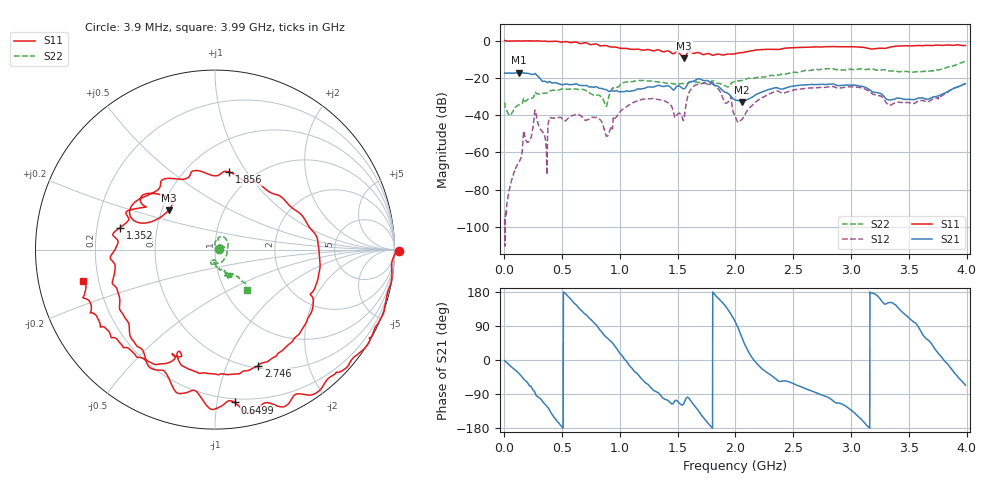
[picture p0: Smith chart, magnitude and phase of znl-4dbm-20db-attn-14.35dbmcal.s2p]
#  HZ  S  RI  R  50.00
! Rohde & Schwarz Vector Network Analyzer
! Rohde-Schwarz,ZNL20-2Port,1323001220101312,1.72.1.6-23.02.1.246
! Created: UTC 10/23/2024, 6:44:50 PM
! freq[Hz]  re:S11  im:S11  re:S21  im:S21  re:S12  im:S12  re:S22  im:S22
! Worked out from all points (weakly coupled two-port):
!   2000 points, 3.9 MHz to 3.99 GHz, reference 50 ohm
!   highest |S21| = -17.12 dB at 127.5 MHz (marker M1); lowest = -32.8 dB at 2.058 GHz (marker M2)
!   lowest |S11| = -9.4 dB at 1.557 GHz (marker M3), VSWR 2.03, Z = 27.1 + j13.5 ohm
!   |S11| at or under -10 dB: nowhere
!   |S22| runs from -40.2 to -10.8 dB; largest |S21 - S12| = 0.14
!   S11 on the Smith chart (normalised r, x): 3.9 MHz: -71, -21; 649.9 MHz: 0.17, -1.12; 1.352 GHz: 0.30, +0.10; 1.856 GHz: 0.78, +0.83; 2.746 GHz: 0.53, -1.30; 3.99 GHz: 0.14, -0.12
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3900000  1.026 -0.00788  0.137 -0.00407  1.4e-05 8.57e-06  0.0222 0.00144
1.275216e8  0.9626 -0.2347  0.1135 -0.0808  -0.000147 0.000534  0.0142 0.0127
2.710822e8  0.8613 -0.4943  -4.42e-05 -0.1307  -0.00273 -0.0125  0.0352 0.0218
3.548259e8  0.7282 -0.6613  -0.0369 -0.0725  -0.00217 0.00118  0.0339 0.0191
4.046733e8  0.6416 -0.7097  -0.0573 -0.0504  -0.00814 -0.00229  0.0413 0.0203
6.499226e8  0.1095 -0.8517  -0.0457 0.0442  -0.00634 0.00803  0.0482 0.0129
6.698616e8  0.0645 -0.8489  -0.041 0.0482  -0.00498 0.00773  0.0486 0.0107
8.1741e8  -0.2572 -0.7178  0.00583 0.0535  -0.000427 0.00809  0.0312 0.0154
8.93178e8  -0.3843 -0.6213  0.025 0.0392  0.0015 0.0023  0.00419 0.0214
1.040726e9  -0.5138 -0.3581  0.0429 0.00141  0.00389 -0.0151  0.0303 0.0703
1.333829e9  -0.5677 0.0897  0.00392 -0.0633  -0.0221 -0.0143  0.0706 0.0373
1.351774e9  -0.5293 0.1221  -0.00319 -0.0615  -0.0222 -0.0132  0.0721 0.0316
1.557146e9  -0.2584 0.2196  -0.0199 -0.0474  0.00442 -0.00759  0.0583 -0.0416
1.642883e9  -0.3118 0.3394  -0.0405 -0.0723  -0.0059 -0.0612  0.0264 -0.0745
1.85623e9  0.0779 0.4326  -0.0552 0.0182  -0.0255 0.0419  -0.0268 -0.0667
1.997797e9  0.3322 0.3088  -0.0052 0.0253  -0.00331 -0.00888  -0.000501 -0.0815
2.057614e9  0.4158 0.2448  0.012 0.0195  0.00425 -0.0065  0.00577 -0.086
2.308845e9  0.5714 -0.1719  0.0389 -0.0329  0.024 -0.0309  0.0314 -0.114
2.661765e9  0.3391 -0.5943  0.00936 -0.0663  0.00816 -0.0536  0.0812 -0.1429
2.745508e9  0.2423 -0.6462  -0.00196 -0.0679  0.000345 -0.0558  0.0865 -0.1494
3.325732e9  -0.2357 -0.6186  -0.0229 0.0124  -0.0161 0.0105  0.0574 -0.1445
3.9897e9  -0.7336 -0.1751  0.0282 -0.0643  0.0267 -0.0663  0.1773 -0.2265
